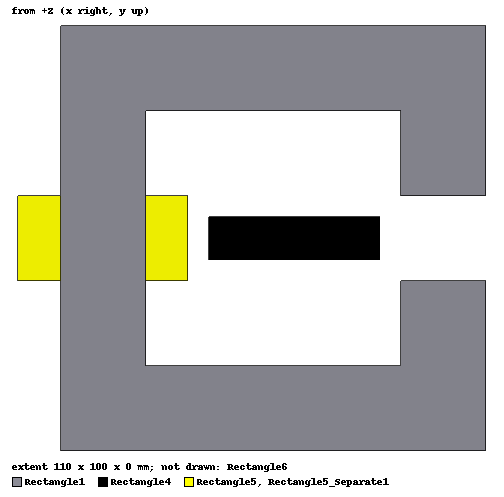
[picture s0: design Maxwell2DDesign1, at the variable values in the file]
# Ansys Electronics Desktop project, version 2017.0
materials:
  vacuum: permittivity=1
  linear1000: permeability{BType=normal HUnit=A_per_meter BUnit=tesla curve (0, 0) (1, 0.001256637) (1000, 1.256637) (2000, 2.4) (20000, 24)} conductivity=2000000
  iron: permeability=4000 conductivity=10300000
  copper: permeability=0.999991 conductivity=58000000
  air: permittivity=1.0006 permeability=1.0000004
  steel_1000BH_edited: permittivity=1 permeability{BType=normal HUnit=A_per_meter BUnit=tesla curve (0, 0) (400, 0.5) (800, 1) (4000, 5)} conductivity=2000000 lande_g_factor=2
  steel_1010: permittivity=1 permeability{BType=normal HUnit=A_per_meter BUnit=tesla curve (0, 0) (238.7, 0.2003) (318.3, 0.3204) (358.1, 0.40045) (437.7, 0.50055) (477.5, 0.5606) (636.6, 0.7908) (795.8, 0.931) (1114.1, 1.1014) (1273.2, 1.2016) (1591.5, 1.302) (2228.2, 1.4028) (3183.1, 1.524) (4774.6, 1.626) (6366.2, 1.698) (7957.7, 1.73) (15915.5, 1.87) (31831, 1.99) (47746.5, 2.04) (63662, 2.07) (79577.5, 2.095) (159155, 2.2) (318310, 2.4)} conductivity=2000000 lande_g_factor=2

design Maxwell2DDesign1 (Maxwell 2D, Magnetostatic, XY geometry, model units mm)
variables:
  a = -45mm
  n = 80A_per_A
  ı = 100A
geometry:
  Rectangle1 [steel_1000BH_edited] = rectangle(corner=(-50mm, -50mm, 0mm), x_size=100mm, y_size=100mm)
  Rectangle2 = rectangle(corner=(-30mm, -30mm, 0mm), x_size=60mm, y_size=60mm)
  Rectangle3 = rectangle(corner=(30mm, -10mm, 0mm), x_size=20mm, y_size=20mm)
  Rectangle4 [steel_1000BH_edited] = rectangle(corner=(30mm+a, -5mm, 0mm), x_size=40mm, y_size=10mm)
  Rectangle1.subtract(Rectangle2, Rectangle3)
  Rectangle5 [copper] = rectangle(corner=(-20mm, 10mm, 0mm), x_size=-40mm, y_size=-20mm)
  Rectangle1_1 = Rectangle1.copy()
  Rectangle5.subtract(Rectangle1_1)
  Rectangle5_Separate1 [copper] = Rectangle5.separate_bodies()
  Rectangle6 [vacuum] = rectangle(corner=(-160mm, 140mm, 0mm), x_size=360mm, y_size=-280mm)
  Rectangle1_2 = Rectangle1.copy()
  Rectangle4_1 = Rectangle4.copy()
  Rectangle5_1 = Rectangle5.copy()
  Rectangle5_Separate1_1 = Rectangle5_Separate1.copy()
  Rectangle6.subtract(Rectangle1_2, Rectangle4_1, Rectangle5_1, Rectangle5_Separate1_1)
  Polyline1 = polyline((-50mm, 0mm, 0mm) (-30mm, 0mm, 0mm))
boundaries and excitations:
  VectorPotential1: Vector Potential Edges=Rectangle6.edge(y at corner, x at corner, x opposite corner, y opposite corner) Value=0
  Current1: Current Objects=Rectangle5 Current=n*ı IsPositive=false
  Current2: Current Objects=Rectangle5_Separate1 Current=n*ı IsPositive=true
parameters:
  Force1: Force Reference_CS=Global Objects=Rectangle4
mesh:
  Length1: LengthBased RefineInside Objects=[Rectangle1, Rectangle4] MaxLength=5mm
  initial mesh: MeshMethod=AnsoftClassic
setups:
  Setup1: Magnetostatic MaximumPasses=20 MinimumPasses=2 MinimumConvergedPasses=1 PercentRefinement=30 PercentError=1 ExpressionCache{CacheItem{Title=Force1_Force_mag1 Expression=Force1.Force_mag IsConvergence UseRelativeConvergence=1 MaxConvergenceDelta=1 MaxConvergeValue=1newton TraceID=470 ReportType=1}} UsingNumSolveSteps=0 ConstantDelta=0s NumberSolveSteps=1 NonLinearResidual=0.0001
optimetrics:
  ParametricSetup1: Parametric disabled Sim._Setups=[Setup1]
    sweep a: LIN -45mm 50mm 5mm
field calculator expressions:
  hgh = energy | EnterSurface(Rectangle1) | SurfaceValue | Integrate
  flux = B_Vector | 2D_Normal | Dot | EnterLine(Polyline1) | LineValue | Integrate
  L = flux | Scalar_Function(FuncValue='n') | * | Scalar_Function(FuncValue='ı') | /
  Magnetic_Energy = energy | EnterVolume(Rectangle6) | VolumeValue | Integrate | energy | EnterSurface(Rectangle1) | SurfaceValue | Integrate | energy | EnterSurface(Rectangle4) | SurfaceValue | Integrate | + | +
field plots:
  B_Vector1: B over Rectangle6, Rectangle1, Rectangle4, Rectangle5, Rectangle5_Separate1 on Setup1 : LastAdaptive
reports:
  Force vs Position: Force1.Force_x vs a on Setup1 : LastAdaptive
  Magnetic Energy Stored: Magnetic_Energy vs a on Setup1 : LastAdaptive
  Inductance vs Position: L*1e3 vs a on Setup1 : LastAdaptive
